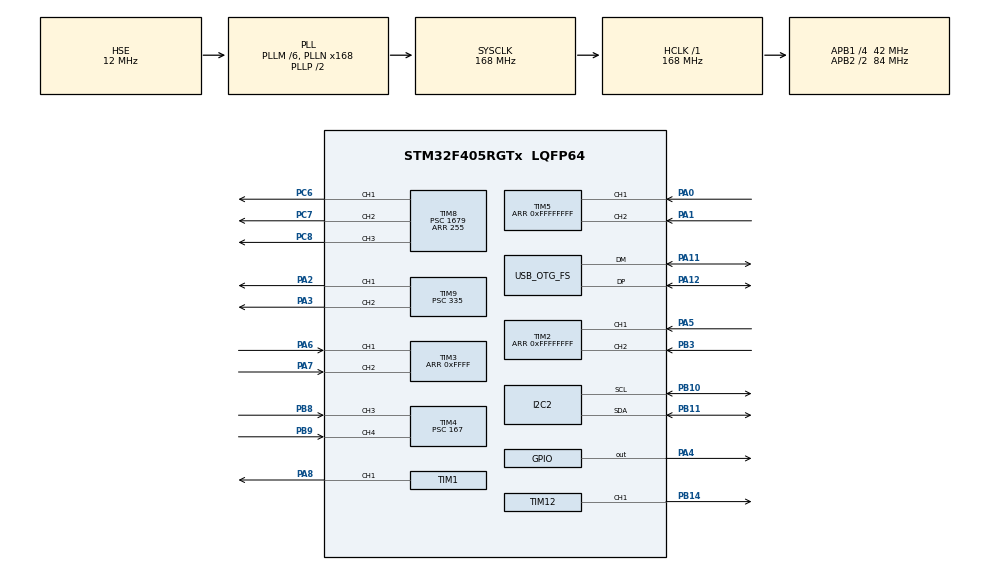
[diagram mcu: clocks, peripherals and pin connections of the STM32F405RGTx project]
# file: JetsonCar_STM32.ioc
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FREERTOS.Tasks01=defaultTask,0,128,StartDefaultTask,Default,NULL
Mcu.Family=STM32F4
Mcu.Name=STM32F405RGTx
Mcu.Package=LQFP64
NVIC.OTG_FS_IRQn=true\:5\:0\:false\:false\:true\:true\:false
NVIC.PriorityGroup=NVIC_PRIORITYGROUP_4
NVIC.TIM4_IRQn=true\:5\:0\:false\:false\:true\:true\:true
NVIC.TIM8_TRG_COM_TIM14_IRQn=true\:0\:0\:false\:false\:true\:false\:false
NVIC.TimeBase=TIM8_TRG_COM_TIM14_IRQn
NVIC.TimeBaseIP=TIM14
PA0-WKUP.GPIO_PuPd=GPIO_PULLUP
PA0-WKUP.GPIO_Speed=GPIO_SPEED_FREQ_HIGH
PA0-WKUP.Signal=S_TIM5_CH1
PA1.GPIO_PuPd=GPIO_PULLUP
PA1.GPIO_Speed=GPIO_SPEED_FREQ_HIGH
PA1.Signal=S_TIM5_CH2
PA11.Mode=Device_Only
PA11.Signal=USB_OTG_FS_DM
PA12.Mode=Device_Only
PA12.Signal=USB_OTG_FS_DP
PA13.Mode=Serial_Wire
PA13.Signal=SYS_JTMS-SWDIO
PA14.Mode=Serial_Wire
PA14.Signal=SYS_JTCK-SWCLK
PA2.Signal=S_TIM9_CH1
PA3.Signal=S_TIM9_CH2
PA4.GPIO_PuPd=GPIO_PULLDOWN
PA4.Signal=GPIO_Output
PA5.GPIO_PuPd=GPIO_PULLUP
PA5.GPIO_Speed=GPIO_SPEED_FREQ_HIGH
PA5.Signal=S_TIM2_CH1_ETR
PA6.GPIO_PuPd=GPIO_PULLUP
PA6.GPIO_Speed=GPIO_SPEED_FREQ_HIGH
PA6.Signal=S_TIM3_CH1
PA7.GPIO_PuPd=GPIO_PULLUP
PA7.GPIO_Speed=GPIO_SPEED_FREQ_HIGH
PA7.Signal=S_TIM3_CH2
PA8.Signal=S_TIM1_CH1
PB10.Mode=I2C
PB10.Signal=I2C2_SCL
PB11.Mode=I2C
PB11.Signal=I2C2_SDA
PB14.GPIO_PuPd=GPIO_PULLDOWN
PB14.Signal=S_TIM12_CH1
PB3.GPIO_PuPd=GPIO_PULLUP
PB3.GPIO_Speed=GPIO_SPEED_FREQ_HIGH
PB3.Signal=S_TIM2_CH2
PB8.GPIO_PuPd=GPIO_PULLDOWN
PB8.GPIO_Speed=GPIO_SPEED_FREQ_MEDIUM
PB8.Signal=S_TIM4_CH3
PB9.GPIO_PuPd=GPIO_PULLDOWN
PB9.GPIO_Speed=GPIO_SPEED_FREQ_MEDIUM
PB9.Signal=S_TIM4_CH4
PC6.Signal=S_TIM8_CH1
PC7.Signal=S_TIM8_CH2
PC8.Signal=S_TIM8_CH3
PH0-OSC_IN.Mode=HSE-External-Oscillator
PH0-OSC_IN.Signal=RCC_OSC_IN
PH1-OSC_OUT.Mode=HSE-External-Oscillator
PH1-OSC_OUT.Signal=RCC_OSC_OUT
ProjectManager.HeapSize=0x200
ProjectManager.StackSize=0x400
ProjectManager.TargetToolchain=SW4STM32
RCC.48MHZClocksFreq_Value=48000000
RCC.AHBFreq_Value=168000000
RCC.APB1CLKDivider=RCC_HCLK_DIV4
RCC.APB1Freq_Value=42000000
RCC.APB1TimFreq_Value=84000000
RCC.APB2CLKDivider=RCC_HCLK_DIV2
RCC.APB2Freq_Value=84000000
RCC.APB2TimFreq_Value=168000000
RCC.CortexFreq_Value=168000000
RCC.HCLKFreq_Value=168000000
RCC.HSE_VALUE=12000000
RCC.HSI_VALUE=16000000
RCC.LSE_VALUE=32768
RCC.PLLM=6
RCC.PLLN=168
RCC.PLLQ=7
RCC.SYSCLKFreq_VALUE=168000000
RCC.SYSCLKSource=RCC_SYSCLKSOURCE_PLLCLK
RCC.VCOOutputFreq_Value=336000000
SH.S_TIM12_CH1.0=TIM12_CH1,PWM Generation1 CH1
SH.S_TIM1_CH1.0=TIM1_CH1,PWM Generation1 CH1
SH.S_TIM2_CH1_ETR.0=TIM2_CH1,Encoder_Interface
SH.S_TIM2_CH2.0=TIM2_CH2,Encoder_Interface
SH.S_TIM3_CH1.0=TIM3_CH1,Encoder_Interface
SH.S_TIM3_CH2.0=TIM3_CH2,Encoder_Interface
SH.S_TIM4_CH3.0=TIM4_CH3,Input_Capture3_from_TI3
SH.S_TIM4_CH4.0=TIM4_CH4,Input_Capture4_from_TI4
SH.S_TIM5_CH1.0=TIM5_CH1,Encoder_Interface
SH.S_TIM5_CH2.0=TIM5_CH2,Encoder_Interface
SH.S_TIM8_CH1.0=TIM8_CH1,PWM Generation1 CH1
SH.S_TIM8_CH2.0=TIM8_CH2,PWM Generation2 CH2
SH.S_TIM8_CH3.0=TIM8_CH3,PWM Generation3 CH3
SH.S_TIM9_CH1.0=TIM9_CH1,PWM Generation1 CH1
SH.S_TIM9_CH2.0=TIM9_CH2,PWM Generation2 CH2
TIM1.Channel-PWM\ Generation1\ CH1=TIM_CHANNEL_1
TIM1.OCFastMode_PWM-PWM\ Generation1\ CH1=TIM_OCFAST_ENABLE
TIM1.Period=9999
TIM1.Prescaler=335
TIM1.Pulse-PWM\ Generation1\ CH1=250
TIM12.Channel-PWM\ Generation1\ CH1=TIM_CHANNEL_1
TIM12.OCFastMode_PWM-PWM\ Generation1\ CH1=TIM_OCFAST_ENABLE
TIM12.Period=999
TIM12.Prescaler=7
TIM12.Pulse-PWM\ Generation1\ CH1=0
TIM2.EncoderMode=TIM_ENCODERMODE_TI12
TIM2.IC1Polarity=TIM_ICPOLARITY_RISING
TIM2.IC2Polarity=TIM_ICPOLARITY_RISING
TIM2.Period=0xFFFFFFFF
TIM3.EncoderMode=TIM_ENCODERMODE_TI12
TIM3.IC1Polarity=TIM_ICPOLARITY_RISING
TIM3.IC2Polarity=TIM_ICPOLARITY_RISING
TIM3.Period=0xFFFF
TIM4.Channel-Input_Capture3_from_TI3=TIM_CHANNEL_3
TIM4.Channel-Input_Capture4_from_TI4=TIM_CHANNEL_4
TIM4.ICPolarity_CH3=TIM_INPUTCHANNELPOLARITY_BOTHEDGE
TIM4.ICPolarity_CH4=TIM_INPUTCHANNELPOLARITY_BOTHEDGE
TIM4.Period=9999
TIM4.Prescaler=167
TIM5.EncoderMode=TIM_ENCODERMODE_TI12
TIM5.IC1Polarity=TIM_ICPOLARITY_RISING
TIM5.IC2Polarity=TIM_ICPOLARITY_RISING
TIM5.Period=0xFFFFFFFF
TIM8.Channel-PWM\ Generation1\ CH1=TIM_CHANNEL_1
TIM8.Channel-PWM\ Generation2\ CH2=TIM_CHANNEL_2
TIM8.Channel-PWM\ Generation3\ CH3=TIM_CHANNEL_3
TIM8.OCFastMode_PWM-PWM\ Generation1\ CH1=TIM_OCFAST_ENABLE
TIM8.OCFastMode_PWM-PWM\ Generation2\ CH2=TIM_OCFAST_ENABLE
TIM8.OCFastMode_PWM-PWM\ Generation3\ CH3=TIM_OCFAST_ENABLE
TIM8.Period=255
TIM8.Prescaler=1679
TIM8.Pulse-PWM\ Generation1\ CH1=256
TIM8.Pulse-PWM\ Generation2\ CH2=1000
TIM8.Pulse-PWM\ Generation3\ CH3=1000
TIM9.Channel-PWM\ Generation1\ CH1=TIM_CHANNEL_1
TIM9.Channel-PWM\ Generation2\ CH2=TIM_CHANNEL_2
TIM9.OCFastMode_PWM-PWM\ Generation1\ CH1=TIM_OCFAST_ENABLE
TIM9.OCFastMode_PWM-PWM\ Generation2\ CH2=TIM_OCFAST_ENABLE
TIM9.Period=9999
TIM9.Prescaler=335
TIM9.Pulse-PWM\ Generation1\ CH1=250
TIM9.Pulse-PWM\ Generation2\ CH2=250
USB_DEVICE.CLASS_NAME_FS=CDC
USB_DEVICE.VirtualMode-CDC_FS=Cdc
USB_DEVICE.VirtualModeFS=Cdc_FS
USB_OTG_FS.VirtualMode=Device_Only
VP_FREERTOS_VS_ENABLE.Mode=Enabled
VP_SYS_VS_tim14.Mode=TIM14
VP_USB_DEVICE_VS_USB_DEVICE_CDC_FS.Mode=CDC_FS
board=JetsonCar_STM32

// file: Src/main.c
/**
  ******************************************************************************
  * File Name          : main.c
  * Description        : Main program body
  ******************************************************************************
  * This notice applies to any and all portions of this file
  * that are not between comment pairs USER CODE BEGIN and
  * USER CODE END. Other portions of this file, whether
  * inserted by the user or by software development tools
  * are owned by their respective copyright owners.
  *
  * Copyright (c) 2017 STMicroelectronics International N.V.
  * All rights reserved.
  *
  * Redistribution and use in source and binary forms, with or without
  * modification, are permitted, provided that the following conditions are met:
  *
  * 1. Redistribution of source code must retain the above copyright notice,
  *    this list of conditions and the following disclaimer.
  * 2. Redistributions in binary form must reproduce the above copyright notice,
  *    this list of conditions and the following disclaimer in the documentation
  *    and/or other materials provided with the distribution.
  * 3. Neither the name of STMicroelectronics nor the names of other
  *    contributors to this software may be used to endorse or promote products
  *    derived from this software without specific written permission.
  * 4. This software, including modifications and/or derivative works of this
  *    software, must execute solely and exclusively on microcontroller or
  *    microprocessor devices manufactured by or for STMicroelectronics.
  * 5. Redistribution and use of this software other than as permitted under
  *    this license is void and will automatically terminate your rights under
  *    this license.
  *
  * THIS SOFTWARE IS PROVIDED BY STMICROELECTRONICS AND CONTRIBUTORS "AS IS"
  * AND ANY EXPRESS, IMPLIED OR STATUTORY WARRANTIES, INCLUDING, BUT NOT
  * LIMITED TO, THE IMPLIED WARRANTIES OF MERCHANTABILITY, FITNESS FOR A
  * PARTICULAR PURPOSE AND NON-INFRINGEMENT OF THIRD PARTY INTELLECTUAL PROPERTY
  * RIGHTS ARE DISCLAIMED TO THE FULLEST EXTENT PERMITTED BY LAW. IN NO EVENT
  * SHALL STMICROELECTRONICS OR CONTRIBUTORS BE LIABLE FOR ANY DIRECT, INDIRECT,
  * INCIDENTAL, SPECIAL, EXEMPLARY, OR CONSEQUENTIAL DAMAGES (INCLUDING, BUT NOT
  * LIMITED TO, PROCUREMENT OF SUBSTITUTE GOODS OR SERVICES; LOSS OF USE, DATA,
  * OR PROFITS; OR BUSINESS INTERRUPTION) HOWEVER CAUSED AND ON ANY THEORY OF
  * LIABILITY, WHETHER IN CONTRACT, STRICT LIABILITY, OR TORT (INCLUDING
  * NEGLIGENCE OR OTHERWISE) ARISING IN ANY WAY OUT OF THE USE OF THIS SOFTWARE,
  * EVEN IF ADVISED OF THE POSSIBILITY OF SUCH DAMAGE.
  *
  ******************************************************************************
  */

#include "main.h"
#include "stm32f4xx_hal.h"
#include "cmsis_os.h"
#include "usb_device.h"

/* USER CODE BEGIN Includes */
#include "usbd_cdc_if.h"
#include "VL53L0X.h"
#include "XV11_LiDAR.h"
#include "RCReceiver.h"
#include "Encoders.h"
#include "Motors.h"
#include "Misc.h"
/* USER CODE END Includes */

I2C_HandleTypeDef hi2c2;

TIM_HandleTypeDef htim1;
TIM_HandleTypeDef htim2;
TIM_HandleTypeDef htim3;
TIM_HandleTypeDef htim4;
TIM_HandleTypeDef htim5;
TIM_HandleTypeDef htim8;
TIM_HandleTypeDef htim9;
TIM_HandleTypeDef htim12;

osThreadId defaultTaskHandle;

/* USER CODE BEGIN PV */
/* Private variables ---------------------------------------------------------*/

/* USER CODE END PV */

void SystemClock_Config(void);
static void MX_GPIO_Init(void);
static void MX_I2C2_Init(void);
static void MX_TIM9_Init(void);
static void MX_TIM12_Init(void);
static void MX_TIM2_Init(void);
static void MX_TIM5_Init(void);
static void MX_TIM3_Init(void);
static void MX_TIM4_Init(void);
static void MX_TIM1_Init(void);
static void MX_TIM8_Init(void);
void StartDefaultTask(void const * argument);

void HAL_TIM_MspPostInit(TIM_HandleTypeDef *htim);

/* USER CODE BEGIN PFP */
/* Private function prototypes -----------------------------------------------*/

/* USER CODE END PFP */

int main(void)
{

  /* MCU Configuration----------------------------------------------------------*/

  /* Reset of all peripherals, Initializes the Flash interface and the Systick. */
  HAL_Init();

  /* Configure the system clock */
  SystemClock_Config();

  /* USER CODE BEGIN SysInit */
  crcInit();
  /* USER CODE END SysInit */

  /* Initialize all configured peripherals */
  MX_GPIO_Init();
  MX_I2C2_Init();
  MX_TIM9_Init();
  MX_TIM12_Init();
  MX_TIM2_Init();
  MX_TIM5_Init();
  MX_TIM3_Init();
  MX_TIM4_Init();
  MX_TIM1_Init();
  MX_TIM8_Init();

  /* USER CODE BEGIN 2 */
  // OBS. If re-generating the project from CubeMX remember to go into settings and turn off optimization!
  LiDAR_Init();
  Encoders_Init();
  Motors_Init();
  Misc_Init(); // Init RGB, Buzzer etc.
  RC_Receiver_Init();
  /* USER CODE END 2 */

  /* Create the thread(s) */
  /* definition and creation of defaultTask */
  osThreadDef(defaultTask, StartDefaultTask, osPriorityNormal, 0, 128);
  defaultTaskHandle = osThreadCreate(osThread(defaultTask), NULL);

  /* USER CODE BEGIN RTOS_THREADS */
  Communication_Init();
  /* USER CODE END RTOS_THREADS */

  /* Start scheduler */
  osKernelStart();

  /* We should never get here as control is now taken by the scheduler */

  /* Infinite loop */
  while (1)
  {

  }

}

/** System Clock Configuration
*/
void SystemClock_Config(void)
{

  RCC_OscInitTypeDef RCC_OscInitStruct;
  RCC_ClkInitTypeDef RCC_ClkInitStruct;

    /**Configure the main internal regulator output voltage
    */
  __HAL_RCC_PWR_CLK_ENABLE();

  __HAL_PWR_VOLTAGESCALING_CONFIG(PWR_REGULATOR_VOLTAGE_SCALE1);

    /**Initializes the CPU, AHB and APB busses clocks
    */
  RCC_OscInitStruct.OscillatorType = RCC_OSCILLATORTYPE_HSE;
  RCC_OscInitStruct.HSEState = RCC_HSE_ON;
  RCC_OscInitStruct.PLL.PLLState = RCC_PLL_ON;
  RCC_OscInitStruct.PLL.PLLSource = RCC_PLLSOURCE_HSE;
  RCC_OscInitStruct.PLL.PLLM = 6;
  RCC_OscInitStruct.PLL.PLLN = 168;
  RCC_OscInitStruct.PLL.PLLP = RCC_PLLP_DIV2;
  RCC_OscInitStruct.PLL.PLLQ = 7;
  if (HAL_RCC_OscConfig(&RCC_OscInitStruct) != HAL_OK)
  {
    _Error_Handler(__FILE__, __LINE__);
  }

    /**Initializes the CPU, AHB and APB busses clocks
    */
  RCC_ClkInitStruct.ClockType = RCC_CLOCKTYPE_HCLK|RCC_CLOCKTYPE_SYSCLK
                              |RCC_CLOCKTYPE_PCLK1|RCC_CLOCKTYPE_PCLK2;
  RCC_ClkInitStruct.SYSCLKSource = RCC_SYSCLKSOURCE_PLLCLK;
  RCC_ClkInitStruct.AHBCLKDivider = RCC_SYSCLK_DIV1;
  RCC_ClkInitStruct.APB1CLKDivider = RCC_HCLK_DIV4;
  RCC_ClkInitStruct.APB2CLKDivider = RCC_HCLK_DIV2;

  if (HAL_RCC_ClockConfig(&RCC_ClkInitStruct, FLASH_LATENCY_5) != HAL_OK)
  {
    _Error_Handler(__FILE__, __LINE__);
  }

    /**Configure the Systick interrupt time
    */
  HAL_SYSTICK_Config(HAL_RCC_GetHCLKFreq()/1000);

    /**Configure the Systick
    */
  HAL_SYSTICK_CLKSourceConfig(SYSTICK_CLKSOURCE_HCLK);

  /* SysTick_IRQn interrupt configuration */
  HAL_NVIC_SetPriority(SysTick_IRQn, 15, 0);
}

/* I2C2 init function */
static void MX_I2C2_Init(void)
{

  hi2c2.Instance = I2C2;
  hi2c2.Init.ClockSpeed = 100000;
  hi2c2.Init.DutyCycle = I2C_DUTYCYCLE_2;
  hi2c2.Init.OwnAddress1 = 0;
  hi2c2.Init.AddressingMode = I2C_ADDRESSINGMODE_7BIT;
  hi2c2.Init.DualAddressMode = I2C_DUALADDRESS_DISABLE;
  hi2c2.Init.OwnAddress2 = 0;
  hi2c2.Init.GeneralCallMode = I2C_GENERALCALL_DISABLE;
  hi2c2.Init.NoStretchMode = I2C_NOSTRETCH_DISABLE;
  if (HAL_I2C_Init(&hi2c2) != HAL_OK)
  {
    _Error_Handler(__FILE__, __LINE__);
  }

}

/* TIM1 init function */
static void MX_TIM1_Init(void)
{

  TIM_MasterConfigTypeDef sMasterConfig;
  TIM_OC_InitTypeDef sConfigOC;
  TIM_BreakDeadTimeConfigTypeDef sBreakDeadTimeConfig;

  htim1.Instance = TIM1;
  htim1.Init.Prescaler = 335;
  htim1.Init.CounterMode = TIM_COUNTERMODE_UP;
  htim1.Init.Period = 9999;
  htim1.Init.ClockDivision = TIM_CLOCKDIVISION_DIV1;
  htim1.Init.RepetitionCounter = 0;
  if (HAL_TIM_PWM_Init(&htim1) != HAL_OK)
  {
    _Error_Handler(__FILE__, __LINE__);
  }

  sMasterConfig.MasterOutputTrigger = TIM_TRGO_RESET;
  sMasterConfig.MasterSlaveMode = TIM_MASTERSLAVEMODE_DISABLE;
  if (HAL_TIMEx_MasterConfigSynchronization(&htim1, &sMasterConfig) != HAL_OK)
  {
    _Error_Handler(__FILE__, __LINE__);
  }

  sConfigOC.OCMode = TIM_OCMODE_PWM1;
  sConfigOC.Pulse = 250;
  sConfigOC.OCPolarity = TIM_OCPOLARITY_HIGH;
  sConfigOC.OCNPolarity = TIM_OCNPOLARITY_HIGH;
  sConfigOC.OCFastMode = TIM_OCFAST_ENABLE;
  sConfigOC.OCIdleState = TIM_OCIDLESTATE_RESET;
  sConfigOC.OCNIdleState = TIM_OCNIDLESTATE_RESET;
  if (HAL_TIM_PWM_ConfigChannel(&htim1, &sConfigOC, TIM_CHANNEL_1) != HAL_OK)
  {
    _Error_Handler(__FILE__, __LINE__);
  }

  sBreakDeadTimeConfig.OffStateRunMode = TIM_OSSR_DISABLE;
  sBreakDeadTimeConfig.OffStateIDLEMode = TIM_OSSI_DISABLE;
  sBreakDeadTimeConfig.LockLevel = TIM_LOCKLEVEL_OFF;
  sBreakDeadTimeConfig.DeadTime = 0;
  sBreakDeadTimeConfig.BreakState = TIM_BREAK_DISABLE;
  sBreakDeadTimeConfig.BreakPolarity = TIM_BREAKPOLARITY_HIGH;
  sBreakDeadTimeConfig.AutomaticOutput = TIM_AUTOMATICOUTPUT_DISABLE;
  if (HAL_TIMEx_ConfigBreakDeadTime(&htim1, &sBreakDeadTimeConfig) != HAL_OK)
  {
    _Error_Handler(__FILE__, __LINE__);
  }

  HAL_TIM_MspPostInit(&htim1);

}

/* TIM2 init function */
static void MX_TIM2_Init(void)
{

  TIM_Encoder_InitTypeDef sConfig;
  TIM_MasterConfigTypeDef sMasterConfig;

  htim2.Instance = TIM2;
  htim2.Init.Prescaler = 0;
  htim2.Init.CounterMode = TIM_COUNTERMODE_UP;
  htim2.Init.Period = 0xFFFFFFFF;
  htim2.Init.ClockDivision = TIM_CLOCKDIVISION_DIV1;
  sConfig.EncoderMode = TIM_ENCODERMODE_TI12;
  sConfig.IC1Polarity = TIM_ICPOLARITY_RISING;
  sConfig.IC1Selection = TIM_ICSELECTION_DIRECTTI;
  sConfig.IC1Prescaler = TIM_ICPSC_DIV1;
  sConfig.IC1Filter = 0;
  sConfig.IC2Polarity = TIM_ICPOLARITY_RISING;
  sConfig.IC2Selection = TIM_ICSELECTION_DIRECTTI;
  sConfig.IC2Prescaler = TIM_ICPSC_DIV1;
  sConfig.IC2Filter = 0;
  if (HAL_TIM_Encoder_Init(&htim2, &sConfig) != HAL_OK)
  {
    _Error_Handler(__FILE__, __LINE__);
  }

  sMasterConfig.MasterOutputTrigger = TIM_TRGO_RESET;
  sMasterConfig.MasterSlaveMode = TIM_MASTERSLAVEMODE_DISABLE;
  if (HAL_TIMEx_MasterConfigSynchronization(&htim2, &sMasterConfig) != HAL_OK)
  {
    _Error_Handler(__FILE__, __LINE__);
  }

}

/* TIM3 init function */
static void MX_TIM3_Init(void)
{

  TIM_Encoder_InitTypeDef sConfig;
  TIM_MasterConfigTypeDef sMasterConfig;

  htim3.Instance = TIM3;
  htim3.Init.Prescaler = 0;
  htim3.Init.CounterMode = TIM_COUNTERMODE_UP;
  htim3.Init.Period = 0xFFFF;
  htim3.Init.ClockDivision = TIM_CLOCKDIVISION_DIV1;
  sConfig.EncoderMode = TIM_ENCODERMODE_TI12;
  sConfig.IC1Polarity = TIM_ICPOLARITY_RISING;
  sConfig.IC1Selection = TIM_ICSELECTION_DIRECTTI;
  sConfig.IC1Prescaler = TIM_ICPSC_DIV1;
  sConfig.IC1Filter = 0;
  sConfig.IC2Polarity = TIM_ICPOLARITY_RISING;
  sConfig.IC2Selection = TIM_ICSELECTION_DIRECTTI;
  sConfig.IC2Prescaler = TIM_ICPSC_DIV1;
  sConfig.IC2Filter = 0;
  if (HAL_TIM_Encoder_Init(&htim3, &sConfig) != HAL_OK)
  {
    _Error_Handler(__FILE__, __LINE__);
  }

  sMasterConfig.MasterOutputTrigger = TIM_TRGO_RESET;
  sMasterConfig.MasterSlaveMode = TIM_MASTERSLAVEMODE_DISABLE;
  if (HAL_TIMEx_MasterConfigSynchronization(&htim3, &sMasterConfig) != HAL_OK)
  {
    _Error_Handler(__FILE__, __LINE__);
  }

}

/* TIM4 init function */
static void MX_TIM4_Init(void)
{

  TIM_MasterConfigTypeDef sMasterConfig;
  TIM_IC_InitTypeDef sConfigIC;

  htim4.Instance = TIM4;
  htim4.Init.Prescaler = 167;
  htim4.Init.CounterMode = TIM_COUNTERMODE_UP;
  htim4.Init.Period = 0xFFFF;
  htim4.Init.ClockDivision = TIM_CLOCKDIVISION_DIV1;
  if (HAL_TIM_IC_Init(&htim4) != HAL_OK)
  {
    _Error_Handler(__FILE__, __LINE__);
  }

  sMasterConfig.MasterOutputTrigger = TIM_TRGO_RESET;
  sMasterConfig.MasterSlaveMode = TIM_MASTERSLAVEMODE_DISABLE;
  if (HAL_TIMEx_MasterConfigSynchronization(&htim4, &sMasterConfig) != HAL_OK)
  {
    _Error_Handler(__FILE__, __LINE__);
  }

  sConfigIC.ICPolarity = TIM_INPUTCHANNELPOLARITY_BOTHEDGE;
  sConfigIC.ICSelection = TIM_ICSELECTION_DIRECTTI;
  sConfigIC.ICPrescaler = TIM_ICPSC_DIV1;
  sConfigIC.ICFilter = 0;
  if (HAL_TIM_IC_ConfigChannel(&htim4, &sConfigIC, TIM_CHANNEL_3) != HAL_OK)
  {
    _Error_Handler(__FILE__, __LINE__);
  }

  if (HAL_TIM_IC_ConfigChannel(&htim4, &sConfigIC, TIM_CHANNEL_4) != HAL_OK)
  {
    _Error_Handler(__FILE__, __LINE__);
  }

}

/* TIM5 init function */
static void MX_TIM5_Init(void)
{

  TIM_Encoder_InitTypeDef sConfig;
  TIM_MasterConfigTypeDef sMasterConfig;

  htim5.Instance = TIM5;
  htim5.Init.Prescaler = 0;
  htim5.Init.CounterMode = TIM_COUNTERMODE_UP;
  htim5.Init.Period = 0xFFFFFFFF;
  htim5.Init.ClockDivision = TIM_CLOCKDIVISION_DIV1;
  sConfig.EncoderMode = TIM_ENCODERMODE_TI12;
  sConfig.IC1Polarity = TIM_ICPOLARITY_RISING;
  sConfig.IC1Selection = TIM_ICSELECTION_DIRECTTI;
  sConfig.IC1Prescaler = TIM_ICPSC_DIV1;
  sConfig.IC1Filter = 0;
  sConfig.IC2Polarity = TIM_ICPOLARITY_RISING;
  sConfig.IC2Selection = TIM_ICSELECTION_DIRECTTI;
  sConfig.IC2Prescaler = TIM_ICPSC_DIV1;
  sConfig.IC2Filter = 0;
  if (HAL_TIM_Encoder_Init(&htim5, &sConfig) != HAL_OK)
  {
    _Error_Handler(__FILE__, __LINE__);
  }

  sMasterConfig.MasterOutputTrigger = TIM_TRGO_RESET;
  sMasterConfig.MasterSlaveMode = TIM_MASTERSLAVEMODE_DISABLE;
  if (HAL_TIMEx_MasterConfigSynchronization(&htim5, &sMasterConfig) != HAL_OK)
  {
    _Error_Handler(__FILE__, __LINE__);
  }

}

/* TIM8 init function */
static void MX_TIM8_Init(void)
{

  TIM_MasterConfigTypeDef sMasterConfig;
  TIM_OC_InitTypeDef sConfigOC;
  TIM_BreakDeadTimeConfigTypeDef sBreakDeadTimeConfig;

  htim8.Instance = TIM8;
  htim8.Init.Prescaler = 1679;
  htim8.Init.CounterMode = TIM_COUNTERMODE_UP;
  htim8.Init.Period = 255;
  htim8.Init.ClockDivision = TIM_CLOCKDIVISION_DIV1;
  htim8.Init.RepetitionCounter = 0;
  if (HAL_TIM_PWM_Init(&htim8) != HAL_OK)
  {
    _Error_Handler(__FILE__, __LINE__);
  }

  sMasterConfig.MasterOutputTrigger = TIM_TRGO_RESET;
  sMasterConfig.MasterSlaveMode = TIM_MASTERSLAVEMODE_DISABLE;
  if (HAL_TIMEx_MasterConfigSynchronization(&htim8, &sMasterConfig) != HAL_OK)
  {
    _Error_Handler(__FILE__, __LINE__);
  }

  sConfigOC.OCMode = TIM_OCMODE_PWM1;
  sConfigOC.Pulse = 256;
  sConfigOC.OCPolarity = TIM_OCPOLARITY_HIGH;
  sConfigOC.OCNPolarity = TIM_OCNPOLARITY_HIGH;
  sConfigOC.OCFastMode = TIM_OCFAST_ENABLE;
  sConfigOC.OCIdleState = TIM_OCIDLESTATE_RESET;
  sConfigOC.OCNIdleState = TIM_OCNIDLESTATE_RESET;
  if (HAL_TIM_PWM_ConfigChannel(&htim8, &sConfigOC, TIM_CHANNEL_1) != HAL_OK)
  {
    _Error_Handler(__FILE__, __LINE__);
  }

  if (HAL_TIM_PWM_ConfigChannel(&htim8, &sConfigOC, TIM_CHANNEL_2) != HAL_OK)
  {
    _Error_Handler(__FILE__, __LINE__);
  }

  if (HAL_TIM_PWM_ConfigChannel(&htim8, &sConfigOC, TIM_CHANNEL_3) != HAL_OK)
  {
    _Error_Handler(__FILE__, __LINE__);
  }

  sBreakDeadTimeConfig.OffStateRunMode = TIM_OSSR_DISABLE;
  sBreakDeadTimeConfig.OffStateIDLEMode = TIM_OSSI_DISABLE;
  sBreakDeadTimeConfig.LockLevel = TIM_LOCKLEVEL_OFF;
  sBreakDeadTimeConfig.DeadTime = 0;
  sBreakDeadTimeConfig.BreakState = TIM_BREAK_DISABLE;
  sBreakDeadTimeConfig.BreakPolarity = TIM_BREAKPOLARITY_HIGH;
  sBreakDeadTimeConfig.AutomaticOutput = TIM_AUTOMATICOUTPUT_DISABLE;
  if (HAL_TIMEx_ConfigBreakDeadTime(&htim8, &sBreakDeadTimeConfig) != HAL_OK)
  {
    _Error_Handler(__FILE__, __LINE__);
  }

  HAL_TIM_MspPostInit(&htim8);

}

/* TIM9 init function */
static void MX_TIM9_Init(void)
{

  TIM_OC_InitTypeDef sConfigOC;

  htim9.Instance = TIM9;
  htim9.Init.Prescaler = 335;
  htim9.Init.CounterMode = TIM_COUNTERMODE_UP;
  htim9.Init.Period = 9999;
  htim9.Init.ClockDivision = TIM_CLOCKDIVISION_DIV1;
  if (HAL_TIM_PWM_Init(&htim9) != HAL_OK)
  {
    _Error_Handler(__FILE__, __LINE__);
  }

  sConfigOC.OCMode = TIM_OCMODE_PWM1;
  sConfigOC.Pulse = 250;
  sConfigOC.OCPolarity = TIM_OCPOLARITY_HIGH;
  sConfigOC.OCFastMode = TIM_OCFAST_ENABLE;
  if (HAL_TIM_PWM_ConfigChannel(&htim9, &sConfigOC, TIM_CHANNEL_1) != HAL_OK)
  {
    _Error_Handler(__FILE__, __LINE__);
  }

  if (HAL_TIM_PWM_ConfigChannel(&htim9, &sConfigOC, TIM_CHANNEL_2) != HAL_OK)
  {
    _Error_Handler(__FILE__, __LINE__);
  }

  HAL_TIM_MspPostInit(&htim9);

}

/* TIM12 init function */
static void MX_TIM12_Init(void)
{

  TIM_OC_InitTypeDef sConfigOC;

  htim12.Instance = TIM12;
  htim12.Init.Prescaler = 7;
  htim12.Init.CounterMode = TIM_COUNTERMODE_UP;
  htim12.Init.Period = 999;
  htim12.Init.ClockDivision = TIM_CLOCKDIVISION_DIV1;
  if (HAL_TIM_PWM_Init(&htim12) != HAL_OK)
  {
    _Error_Handler(__FILE__, __LINE__);
  }

  sConfigOC.OCMode = TIM_OCMODE_PWM1;
  sConfigOC.Pulse = 0;
  sConfigOC.OCPolarity = TIM_OCPOLARITY_HIGH;
  sConfigOC.OCFastMode = TIM_OCFAST_ENABLE;
  if (HAL_TIM_PWM_ConfigChannel(&htim12, &sConfigOC, TIM_CHANNEL_1) != HAL_OK)
  {
    _Error_Handler(__FILE__, __LINE__);
  }

  HAL_TIM_MspPostInit(&htim12);

}

/** Configure pins as
        * Analog
        * Input
        * Output
        * EVENT_OUT
        * EXTI
*/
static void MX_GPIO_Init(void)
{

  GPIO_InitTypeDef GPIO_InitStruct;

  /* GPIO Ports Clock Enable */
  __HAL_RCC_GPIOH_CLK_ENABLE();
  __HAL_RCC_GPIOA_CLK_ENABLE();
  __HAL_RCC_GPIOB_CLK_ENABLE();
  __HAL_RCC_GPIOC_CLK_ENABLE();

  /*Configure GPIO pin Output Level */
  HAL_GPIO_WritePin(GPIOA, GPIO_PIN_4, GPIO_PIN_RESET);

  /*Configure GPIO pin : PA4 */
  GPIO_InitStruct.Pin = GPIO_PIN_4;
  GPIO_InitStruct.Mode = GPIO_MODE_OUTPUT_PP;
  GPIO_InitStruct.Pull = GPIO_PULLDOWN;
  GPIO_InitStruct.Speed = GPIO_SPEED_FREQ_LOW;
  HAL_GPIO_Init(GPIOA, &GPIO_InitStruct);
}

/* StartDefaultTask function */
void StartDefaultTask(void const * argument)
{
  /* init code for USB_DEVICE */
  MX_USB_DEVICE_Init();

  /* USER CODE BEGIN 5 */
  int32_t encoder;
  float angleFront, angleRear;
  uint16_t Throttle, Steering;
  uint8_t R,G,B;

  /* Infinite loop */
  for(;;)
  {
		/*RC_Receiver_GetValues(&Throttle, &Steering);

		if (Steering == 0 && Throttle > 495 && Throttle < 505) { // RC receiver off
			R = 0;
			G = 0;
			B = 255;
		} else {
			if (Throttle > 0) {
				R = Throttle / 4;
			} else {
				R = 0;
			}
			if (Steering > 0) {
				G = Steering / 4;
			} else {
				G = 0;
			}
			B = 0;
		}

		RGB_SetColor(R,G,B);

		if (Throttle > 0 && Steering > 0) {
			Motors_Set(Throttle, Steering);
		} else {
			Motors_Set(500, 500); // centered - hopefully idle
		}

		if ((Steering != 0) && (Steering > 800 || Steering < 200)) {
			Buzzer_On();
		} else {
			Buzzer_Off();
		}

		Encoders_GetAngle(&angleFront, &angleRear);*/

		osDelay(20);
  }
  /* USER CODE END 5 */
}

void HAL_TIM_PeriodElapsedCallback(TIM_HandleTypeDef *htim)
{
  if (htim->Instance == TIM14) {
    HAL_IncTick();
  }
}

void _Error_Handler(char * file, int line)
{
  while(1)
  {
  }
}

/************************ (C) COPYRIGHT STMicroelectronics *****END OF FILE****/
